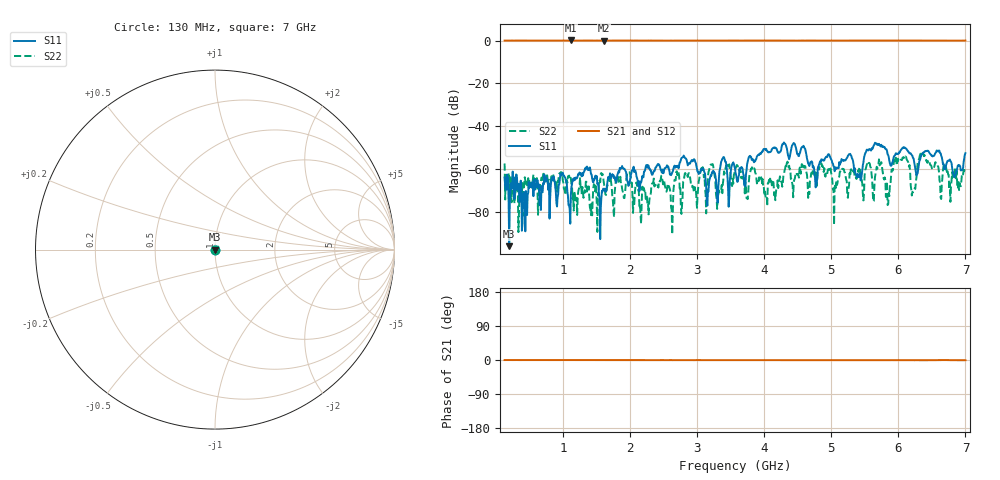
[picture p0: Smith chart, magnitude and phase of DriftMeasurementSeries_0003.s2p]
# Hz S RI R 50.000000
! Metas.Vna.Tools, 2.8.8664.20301
! Metas.Vna.Data, 2.8.8664.20285
! Created: UTC 2024.02.11 10:08:07
! FREQ  re:S1,1  im:S1,1  re:S2,1  im:S2,1  re:S1,2  im:S1,2  re:S2,2  im:S2,2
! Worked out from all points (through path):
!   801 points, 130 MHz to 7 GHz, reference 50 ohm
!   highest |S21| = 0.03 dB at 1.118 GHz (marker M1); lowest = -0.1 dB at 1.616 GHz (marker M2)
!   lowest |S11| = -95.9 dB at 198.7 MHz (marker M3), VSWR 1.00, Z = 50 + j0.000117 ohm
!   |S11| at or under -10 dB: start of sweep to end of sweep
!   |S22| runs from -90.4 to -51.8 dB; largest |S21 - S12| = 0.0075
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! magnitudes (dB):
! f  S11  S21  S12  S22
! 130 MHz  -63.9  0.0  0.0  -57.3
! 198.7 MHz  -95.9  0.0  0.0  -66.9
! 997.3 MHz  -61.6  0.0  0.0  -65.3
! 1.118 GHz  -71.9  0.0  0.0  -64.4
! 1.281 GHz  -63.3  0.0  0.0  -71.9
! 1.616 GHz  -69.1  -0.1  0.0  -67.5
! 2.423 GHz  -58.1  0.0  0.0  -68.6
! 2.981 GHz  -57.1  0.0  0.0  -69.3
! 3.213 GHz  -63.0  0.0  0.0  -57.9
! 3.316 GHz  -68.4  0.0  0.0  -71.8
! 3.565 GHz  -59.6  0.0  0.0  -59.7
! 4.02 GHz  -51.1  0.0  0.0  -72.7
! 4.295 GHz  -47.6  0.0  0.0  -62.6
! 4.716 GHz  -56.6  0.0  0.0  -62.1
! 5.411 GHz  -62.9  0.0  0.0  -61.1
! 5.729 GHz  -48.7  0.0  0.0  -57.4
! 5.858 GHz  -54.5  0.0  0.0  -71.1
! 6.081 GHz  -49.7  0.0  0.0  -54.8
! 6.219 GHz  -54.7  0.0  0.0  -70.7
! 6.356 GHz  -53.0  0.0  0.0  -52.9
! 6.631 GHz  -52.6  0.0  0.0  -73.3
! 7 GHz  -52.5  0.0  0.0  -58.9
